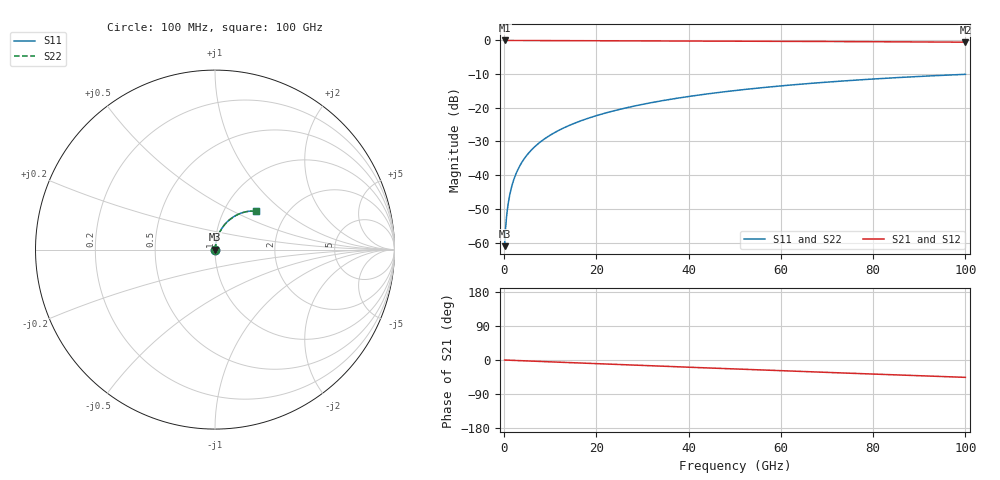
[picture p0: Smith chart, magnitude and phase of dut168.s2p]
! Touchstone file exported from HFSS 2026.1.0
!  File:  C:/ffzhzh/LocalFiles/Ansys_Project_Files/temp_train_RDL_168_1783500164_9504.aedt
!  Generated:  04:43:49 PM Jul  8, 2026
!  Design:  RDL
!  Project:  temp_train_RDL_168_1783500164_9504
! Variables:
!  h_bsmrdl = 2um
!  h_ox = 20um
!  h_rdl = 5um
!  h_sub = 80um
!  h_tmrdl = 3.54um
!  h_tsv = 80um
!  h_via = 3um
!  l_bsmrdl = 300um
!  l_sub = 524.63um
!  l_tmrdl = 124.63um
!  m_sub = 200um
!  pitch = 40.32um
!  r_tsv = 6um
!  s_tmrdl = 10um
!  w_bsmrdl = 18um
!  w_sub = 500um
!  w_tmrdl = 24.52um
!  x_tsv_center1 = 136.89um
!  x_tsv_center2 = 454.89um
!  x_tsv_center3 = 604.04um
!  x_tsv_center4 = 922.04um
!  x_tsv_center5 = 1071.19um
!  x_tsv_center6 = 1389.19um
# GHz S MA R 50.000000
! Terminal data exported
! Port[1] = TM_RDL1_1_T1
! Port[2] = TM_RDL1_1_T2
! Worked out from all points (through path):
!   1000 points, 100 MHz to 100 GHz, reference 50 ohm
!   highest |S21| = -0.01 dB at 100 MHz (marker M1); lowest = -0.5 dB at 100 GHz (marker M2)
!   group delay of S21, straight-line fit = 1.27 ps
!   lowest |S11| = -61.1 dB at 100 MHz (marker M3), VSWR 1.00, Z = 50.1 + j0.0474 ohm
!   |S11| at or under -10 dB: start of sweep to end of sweep
!   |S22| runs from -61.1 to -10.1 dB; largest |S21 - S12| = 4e-15
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0.1  0.0008821 32.4  0.9993 -0.1  0.9993 -0.1  0.0008821 32.4
! Gamma 0 0 0 0
! Port Impedance 50 0 50 0
0.4  0.001956 63.3  0.9991 -0.2  0.9991 -0.2  0.001956 63.3
0.7  0.003089 71.9  0.9991 -0.4  0.9991 -0.4  0.003089 71.9
0.9  0.003859 75.0  0.999 -0.5  0.999 -0.5  0.003859 75.0
1.2  0.005032 78.0  0.999 -0.6  0.999 -0.6  0.005032 78.0
1.6  0.006614 80.2  0.9989 -0.8  0.9989 -0.8  0.006614 80.2
2.1  0.008604 81.7  0.9989 -1.0  0.9989 -1.0  0.008604 81.7
2.7  0.01099 82.6  0.9988 -1.3  0.9988 -1.3  0.01099 82.6
3.4  0.01377 83.1  0.9987 -1.7  0.9987 -1.7  0.01377 83.1
4.2  0.01693 83.3  0.9985 -2.1  0.9985 -2.1  0.01693 83.3
5.2  0.02086 83.3  0.9983 -2.6  0.9983 -2.6  0.02086 83.2
6.3  0.02513 83.0  0.998 -3.1  0.998 -3.1  0.02513 83.0
9.1  0.03586 82.1  0.9972 -4.4  0.9972 -4.4  0.03586 82.1
12.6  0.04906 80.8  0.9961 -6.1  0.9961 -6.1  0.04906 80.8
16.8  0.06466 79.1  0.9948 -8.1  0.9948 -8.1  0.06466 79.1
24.2  0.0917 76.0  0.992 -11.6  0.992 -11.6  0.0917 76.0
33.4  0.1244 72.0  0.9878 -15.9  0.9878 -15.9  0.1244 72.0
41.2  0.1512 68.6  0.9836 -19.6  0.9836 -19.6  0.1512 68.6
50.1  0.1805 64.6  0.9782 -23.7  0.9782 -23.7  0.1805 64.6
66.7  0.2311 57.3  0.9669 -31.2  0.9669 -31.2  0.2311 57.3
83.4  0.2761 50.1  0.9546 -38.6  0.9546 -38.6  0.2761 50.1
100  0.3142 43.1  0.9424 -45.8  0.9424 -45.8  0.3142 43.0
